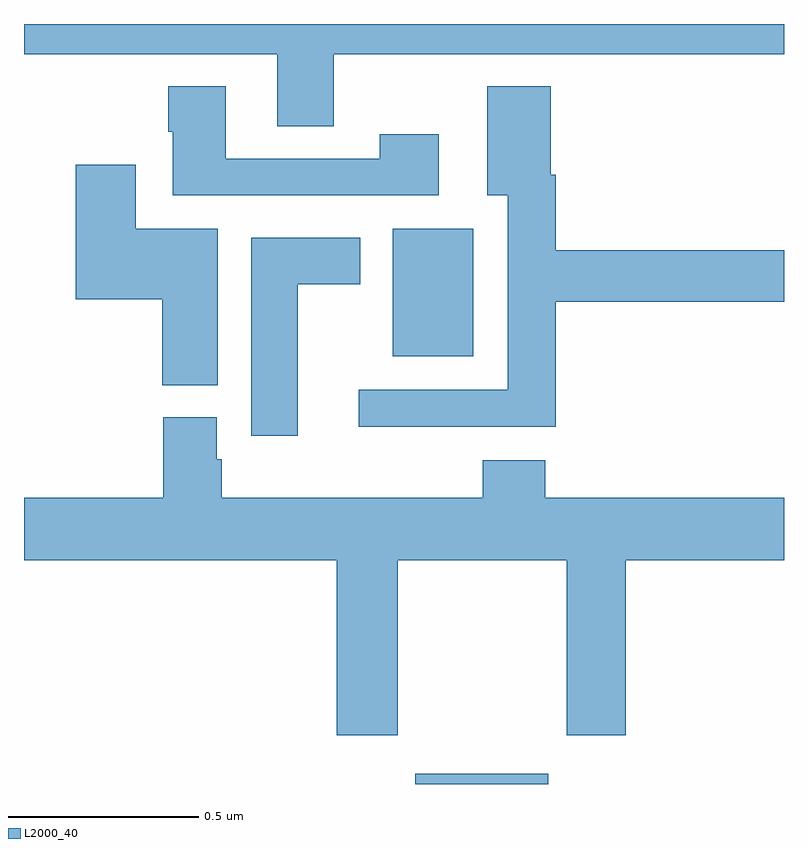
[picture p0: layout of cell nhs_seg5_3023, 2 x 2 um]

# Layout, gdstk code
import gdstk
lib = gdstk.Library(unit=1e-6, precision=1e-09)
def R(c, l, rs):  # rectangles x0, y0, x1, y1
    for r in rs: c.add(gdstk.rectangle(r[:2], r[2:], *l))
def P(c, l, *ps):  # polygons
    for p in ps: c.add(gdstk.Polygon(p, *l))
L2000_40 = (2000, 40)

nhs_seg5_3023 = lib.new_cell('nhs_seg5_3023')
R(nhs_seg5_3023, L2000_40, [(152.03,894.799,152.38,894.826), (151.97,895.925,152.182,896.26)])
P(nhs_seg5_3023, L2000_40, [(151.815,896.72),(153,896.72),(153,896.799),(151,896.799),(151,896.72),(151.667,896.72),(151.667,896.53),(151.815,896.53)],
  [(152.092,896.509),(151.936,896.509),(151.936,896.445),(151.531,896.445),(151.531,896.635),(151.379,896.635),(151.379,896.515),(151.391,896.515),(151.391,896.349),(152.092,896.349)],
  [(152.399,896.068),(153,896.068),(153,896.204),(152.399,896.204),(152.399,896.402),(152.386,896.402),(152.386,896.635),(152.219,896.635),(152.219,896.348),(152.273,896.348),(152.273,895.836),(151.881,895.836),(151.881,895.739),(152.399,895.739)],
  [(151.51,896.26),(151.294,896.26),(151.294,896.428),(151.136,896.428),(151.136,896.075),(151.364,896.075),(151.364,895.849),(151.51,895.849)],
  [(151.72,896.114),(151.885,896.114),(151.885,896.236),(151.598,896.236),(151.598,895.716),(151.72,895.716)],
  [(151.983,895.388),(152.428,895.388),(152.428,894.927),(152.583,894.927),(152.583,895.388),(153,895.388),(153,895.552),(152.372,895.552),(152.372,895.651),(152.207,895.651),(152.207,895.552),(151.52,895.552),(151.52,895.653),(151.507,895.653),(151.507,895.764),(151.367,895.764),(151.367,895.552),(151,895.552),(151,895.388),(151.823,895.388),(151.823,894.927),(151.983,894.927)])

lib.write_gds('nhs_seg5_3023.gds')
